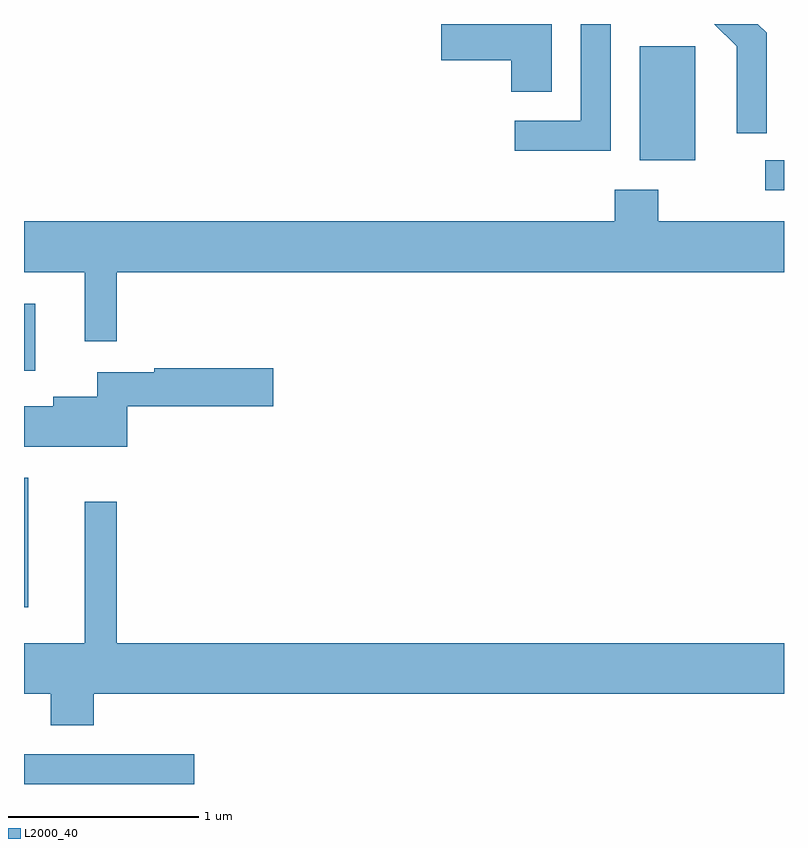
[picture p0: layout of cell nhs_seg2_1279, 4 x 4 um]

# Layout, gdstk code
import gdstk
lib = gdstk.Library(unit=1e-6, precision=1e-09)
def R(c, l, rs):  # rectangles x0, y0, x1, y1
    for r in rs: c.add(gdstk.rectangle(r[:2], r[2:], *l))
def P(c, l, *ps):  # polygons
    for p in ps: c.add(gdstk.Polygon(p, *l))
L2000_40 = (2000, 40)

nhs_seg2_1279 = lib.new_cell('nhs_seg2_1279')
R(nhs_seg2_1279, L2000_40, [(221.611,1087.802,222.508,1087.959), (221.611,1088.733,221.634,1089.414), (221.611,1089.976,221.669,1090.329), (225.513,1090.926,225.611,1091.084), (224.851,1091.086,225.144,1091.684)])
P(nhs_seg2_1279, L2000_40, [(224.699,1091.802),(224.541,1091.802),(224.541,1091.294),(224.193,1091.294),(224.193,1091.136),(224.699,1091.136)],
  [(225.519,1091.757),(225.474,1091.802),(225.243,1091.802),(225.361,1091.684),(225.361,1091.228),(225.519,1091.228)],
  [(224.389,1091.802),(223.806,1091.802),(223.806,1091.611),(224.176,1091.611),(224.176,1091.446),(224.389,1091.446)],
  [(222.099,1090.496),(225.611,1090.496),(225.611,1090.764),(224.949,1090.764),(224.949,1090.929),(224.721,1090.929),(224.721,1090.764),(221.611,1090.764),(221.611,1090.496),(221.931,1090.496),(221.931,1090.133),(222.099,1090.133)],
  [(222.154,1089.791),(222.924,1089.791),(222.924,1089.989),(222.296,1089.989),(222.296,1089.969),(221.996,1089.969),(221.996,1089.839),(221.766,1089.839),(221.766,1089.789),(221.611,1089.789),(221.611,1089.576),(222.154,1089.576)],
  [(221.979,1088.276),(225.611,1088.276),(225.611,1088.544),(222.099,1088.544),(222.099,1089.288),(221.931,1089.288),(221.931,1088.544),(221.611,1088.544),(221.611,1088.276),(221.751,1088.276),(221.751,1088.111),(221.979,1088.111)])

lib.write_gds('nhs_seg2_1279.gds')
